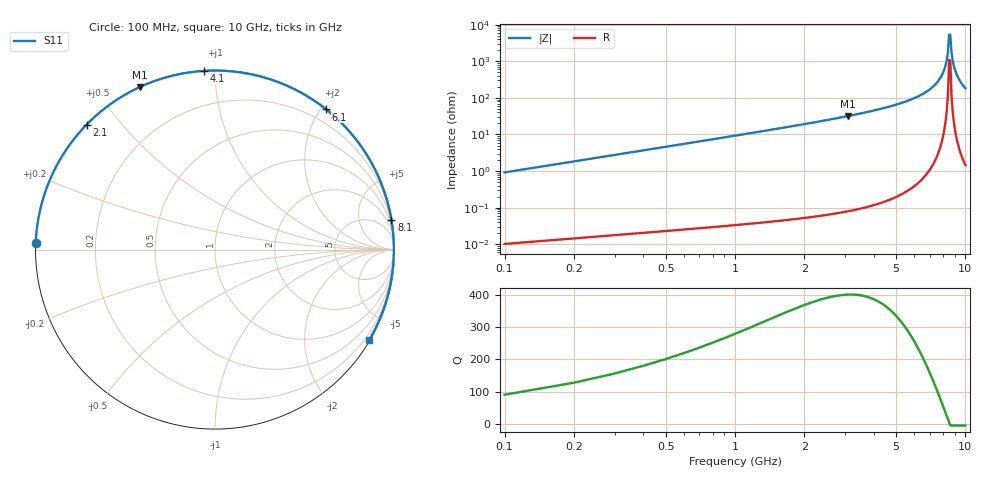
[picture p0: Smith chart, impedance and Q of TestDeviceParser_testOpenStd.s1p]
# MHz MA S R 50.0
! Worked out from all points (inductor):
!   100 points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, 100 MHz to 10 GHz, reference 50 ohm
!   read as one part to ground: L = 1.46 nH near 100 MHz
!   highest Q = 401 at 3.1 GHz (marker M1), where L = 1.64 nH
!   self-resonance near 8.5 GHz
!   S11 on the Smith chart (normalised r, x): 100 MHz: 0.00, +0.02; 2.1 GHz: 0.00, +0.41; 4.1 GHz: 0.00, +0.94; 6.1 GHz: 0.01, +2.07; 8.1 GHz: 0, +12; 10 GHz: 0.03, -3.66
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100  0.9996 177.9
400  0.9992 171.6
700  0.9989 165.3
1000  0.9987 158.9
1400  0.9985 150.5
1700  0.9983 144.2
2100  0.9981 135.8
2600  0.9979 125.3
3100  0.9977 114.7
3500  0.9976 106.3
3900  0.9975 97.9
4100  0.9974 93.7
4600  0.9972 83.1
5100  0.9971 72.6
5600  0.997 62.1
6100  0.9968 51.6
6300  0.9968 47.4
6700  0.9967 38.9
7000  0.9966 32.6
7300  0.9965 26.3
7600  0.9965 20.0
8100  0.9963 9.5
8500  0.9963 1.0
8800  0.9962 -5.3
9100  0.9961 -11.6
9400  0.9961 -17.9
9700  0.996 -24.2
10000  0.9959 -30.5
